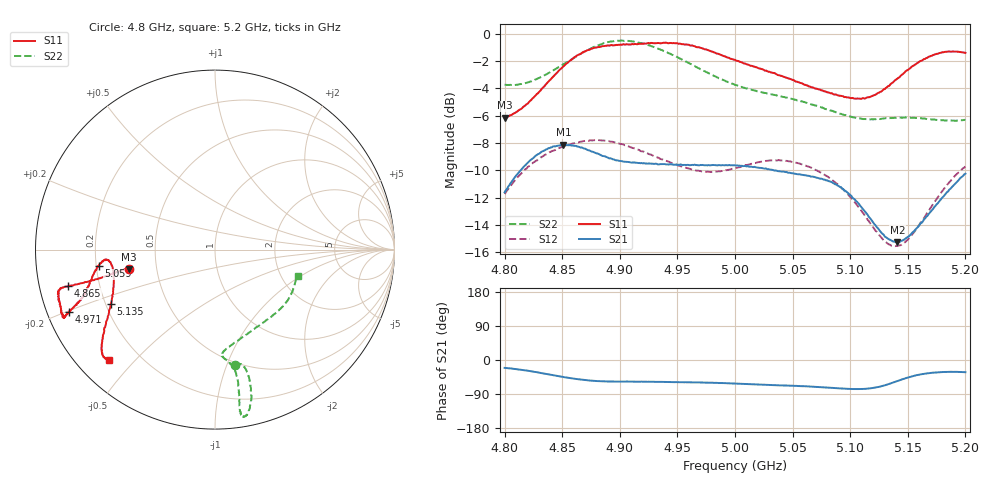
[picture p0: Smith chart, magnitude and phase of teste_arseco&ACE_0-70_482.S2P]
! Network Analyzer HP8722D
! Hewlett-Packard
! Data name: Linha & Wilkinson
! Saver's name: Rodrigo Anjos
! Comments: Teste da utilização de aquisição
! continua pelo VNA HP8722D
! Time and date: 8/5/2025 16:46
!  Frequency  S11  S21  S12  S22
# HZ  S  MA R 50
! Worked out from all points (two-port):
!   401 points, 4.8 GHz to 5.2 GHz, reference 50 ohm
!   highest |S21| = -8.12 dB at 4.851 GHz (marker M1); lowest = -15.2 dB at 5.141 GHz (marker M2)
!   |S21| within 3 dB of the highest: 4.804 GHz to 5.089 GHz (285.7 MHz wide, 5.78 % of centre); 5.189402 GHz to end of sweep
!   lowest |S11| = -6.1 dB at 4.8 GHz (marker M3), VSWR 2.95, Z = 17.1 - j4.91 ohm
!   |S11| at or under -10 dB: nowhere
!   |S22| runs from -6.4 to -0.5 dB; largest |S21 - S12| = 0.62
!   S11 on the Smith chart (normalised r, x): 4.8 GHz: 0.34, -0.10; 4.865 GHz: 0.09, -0.12; 4.971 GHz: 0.06, -0.20; 5.059 GHz: 0.21, -0.07; 5.135 GHz: 0.22, -0.23; 5.2 GHz: 0.09, -0.42
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4.8e9  0.4935 -167.3  0.2629 -20.8  0.2593 -141.9  0.6516 -80.1
4.827e9  0.5956 -166.6  0.358 -31.7  0.3424 -146.3  0.6805 -75.8
4.851e9  0.7599 -165.8  0.3924 -45.0  0.3866 -150.6  0.7748 -75.2
4.865e9  0.8419 -166.1  0.3849 -51.2  0.4017 -152.8  0.8405 -75.9
4.867e9  0.8504 -166.0  0.3837 -52.1  0.4033 -153.1  0.8503 -76.2
4.879e9  0.8912 -165.8  0.3662 -55.3  0.408 -154.9  0.9008 -77.5
4.899e9  0.9116 -163.2  0.3431 -57.1  0.3971 -157.3  0.9435 -79.9
4.934e9  0.9258 -156.8  0.3326 -57.8  0.3513 -156.0  0.8794 -81.1
4.971e9  0.8863 -156.8  0.3308 -59.6  0.3135 -146.8  0.7389 -80.1
5e9  0.8031 -159.6  0.33 -62.3  0.3226 -137.7  0.6501 -81.7
5.032e9  0.7215 -165.1  0.3178 -66.1  0.3442 -135.0  0.6003 -85.8
5.059e9  0.6555 -171.9  0.3044 -69.1  0.3315 -136.9  0.564 -84.5
5.067e9  0.6373 -173.3  0.3003 -70.1  0.3227 -137.8  0.5509 -82.6
5.084e9  0.6062 -174.6  0.2865 -73.4  0.2924 -139.4  0.5232 -75.9
5.101e9  0.5816 -171.7  0.2551 -76.5  0.2501 -139.4  0.497 -65.6
5.114e9  0.5834 -165.4  0.2204 -75.9  0.212 -136.0  0.4874 -56.4
5.134e9  0.6458 -153.2  0.1765 -62.9  0.1692 -118.6  0.4906 -42.7
5.135e9  0.6547 -152.4  0.176 -61.8  0.1683 -117.0  0.492 -42.1
5.141e9  0.6858 -149.4  0.1729 -55.6  0.1671 -109.4  0.4931 -38.7
5.152e9  0.7482 -144.9  0.1832 -44.5  0.18 -95.6  0.4933 -33.1
5.172e9  0.8362 -139.1  0.2288 -33.4  0.2384 -81.1  0.4854 -24.4
5.2e9  0.8518 -133.9  0.3077 -32.2  0.3269 -77.7  0.4839 -17.7
